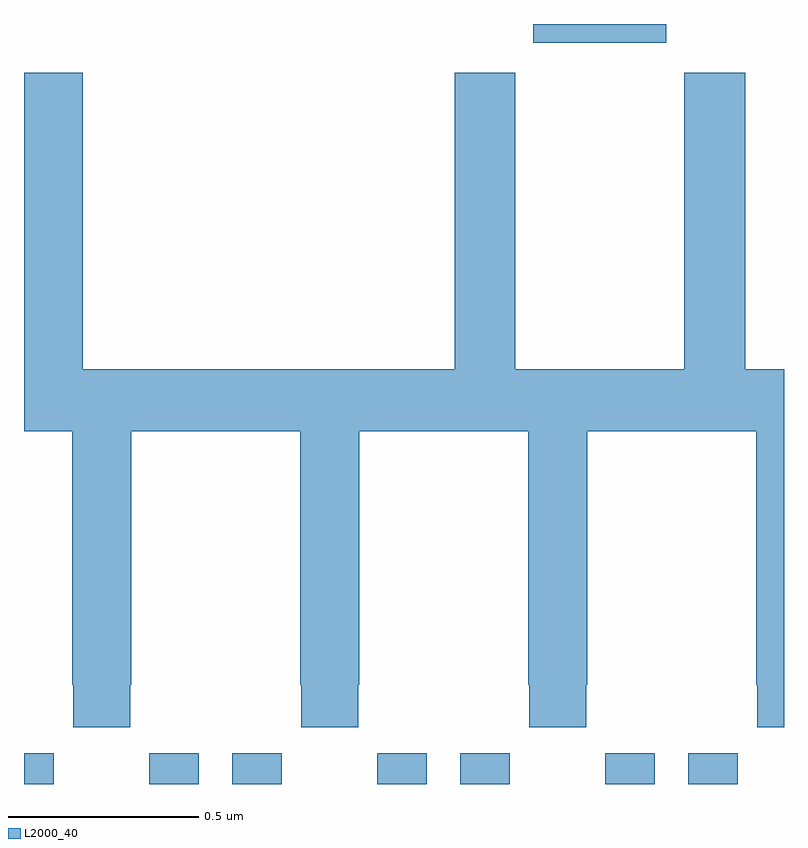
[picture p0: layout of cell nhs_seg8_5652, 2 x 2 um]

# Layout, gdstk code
import gdstk
lib = gdstk.Library(unit=1e-6, precision=1e-09)
def R(c, l, rs):  # rectangles x0, y0, x1, y1
    for r in rs: c.add(gdstk.rectangle(r[:2], r[2:], *l))
def P(c, l, *ps):  # polygons
    for p in ps: c.add(gdstk.Polygon(p, *l))
L2000_40 = (2000, 40)

nhs_seg8_5652 = lib.new_cell('nhs_seg8_5652')
R(nhs_seg8_5652, L2000_40, [(186,1120.9,186.078,1120.981), (186.33,1120.9,186.46,1120.981), (186.548,1120.9,186.678,1120.981), (186.93,1120.9,187.06,1120.981), (187.148,1120.9,187.278,1120.981), (187.53,1120.9,187.66,1120.981), (187.748,1120.9,187.878,1120.981), (187.34,1122.851,187.69,1122.9)])
P(nhs_seg8_5652, L2000_40, [(186.279,1121.161),(186.282,1121.161),(186.282,1121.828),(186.727,1121.828),(186.727,1121.161),(186.729,1121.161),(186.729,1121.049),(186.879,1121.049),(186.879,1121.161),(186.882,1121.161),(186.882,1121.828),(187.327,1121.828),(187.327,1121.161),(187.329,1121.161),(187.329,1121.049),(187.479,1121.049),(187.479,1121.161),(187.482,1121.161),(187.482,1121.828),(187.927,1121.828),(187.927,1121.161),(187.929,1121.161),(187.929,1121.049),(188,1121.049),(188,1121.992),(187.898,1121.992),(187.898,1122.772),(187.738,1122.772),(187.738,1121.992),(187.293,1121.992),(187.293,1122.772),(187.133,1122.772),(187.133,1121.992),(186.155,1121.992),(186.155,1122.772),(186.001,1122.772),(186.001,1122.659),(186,1122.659),(186,1121.828),(186.127,1121.828),(186.127,1121.161),(186.129,1121.161),(186.129,1121.049),(186.279,1121.049)])

lib.write_gds('nhs_seg8_5652.gds')
